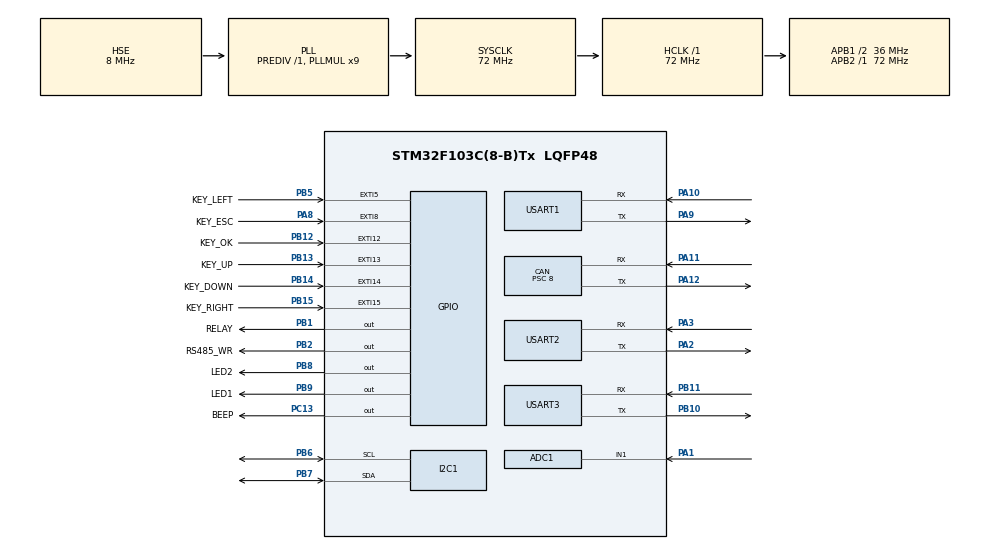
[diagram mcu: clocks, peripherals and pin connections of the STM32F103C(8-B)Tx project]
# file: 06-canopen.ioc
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ADC1.Channel-0\#ChannelRegularConversion=ADC_CHANNEL_1
ADC1.NbrOfConversionFlag=1
ADC1.Rank-0\#ChannelRegularConversion=1
ADC1.SamplingTime-0\#ChannelRegularConversion=ADC_SAMPLETIME_239CYCLES_5
ADC1.master=1
CAN.BS1=CAN_BS1_6TQ
CAN.BS2=CAN_BS2_2TQ
CAN.CalculateBaudRate=500000
CAN.CalculateTimeBit=2000
CAN.CalculateTimeQuantum=222.22222222222223
CAN.Prescaler=8
Dma.Request0=USART3_RX
Dma.Request1=USART1_RX
Dma.USART1_RX.1.Direction=DMA_PERIPH_TO_MEMORY
Dma.USART1_RX.1.Instance=DMA1_Channel5
Dma.USART1_RX.1.MemDataAlignment=DMA_MDATAALIGN_BYTE
Dma.USART1_RX.1.MemInc=DMA_MINC_ENABLE
Dma.USART1_RX.1.Mode=DMA_CIRCULAR
Dma.USART1_RX.1.PeriphDataAlignment=DMA_PDATAALIGN_BYTE
Dma.USART1_RX.1.PeriphInc=DMA_PINC_DISABLE
Dma.USART1_RX.1.Priority=DMA_PRIORITY_HIGH
Dma.USART3_RX.0.Direction=DMA_PERIPH_TO_MEMORY
Dma.USART3_RX.0.Instance=DMA1_Channel3
Dma.USART3_RX.0.MemDataAlignment=DMA_MDATAALIGN_BYTE
Dma.USART3_RX.0.MemInc=DMA_MINC_ENABLE
Dma.USART3_RX.0.Mode=DMA_CIRCULAR
Dma.USART3_RX.0.PeriphDataAlignment=DMA_PDATAALIGN_BYTE
Dma.USART3_RX.0.PeriphInc=DMA_PINC_DISABLE
Dma.USART3_RX.0.Priority=DMA_PRIORITY_HIGH
Mcu.Family=STM32F1
Mcu.Name=STM32F103C(8-B)Tx
Mcu.Package=LQFP48
NVIC.DMA1_Channel3_IRQn=true\:0\:0\:false\:false\:true\:false\:true\:true
NVIC.DMA1_Channel5_IRQn=true\:0\:0\:false\:false\:true\:false\:true\:true
NVIC.EXTI15_10_IRQn=true\:0\:0\:true\:false\:true\:true\:true\:true
NVIC.EXTI9_5_IRQn=true\:0\:0\:true\:false\:true\:true\:true\:true
NVIC.PriorityGroup=NVIC_PRIORITYGROUP_4
NVIC.TIM1_UP_IRQn=true\:0\:0\:false\:false\:true\:true\:true\:true
NVIC.TIM2_IRQn=true\:0\:0\:false\:false\:true\:true\:true\:true
NVIC.TIM3_IRQn=true\:2\:0\:true\:false\:false\:true\:true\:true
NVIC.TIM4_IRQn=true\:0\:0\:false\:false\:true\:true\:true\:true
NVIC.USART1_IRQn=true\:0\:0\:false\:false\:true\:true\:true\:true
NVIC.USART2_IRQn=true\:0\:0\:false\:false\:false\:true\:true\:true
NVIC.USART3_IRQn=true\:0\:0\:false\:false\:true\:true\:true\:true
NVIC.USB_LP_CAN1_RX0_IRQn=true\:0\:0\:false\:false\:true\:true\:true\:true
PA1.Signal=ADCx_IN1
PA10.Mode=Asynchronous
PA10.Signal=USART1_RX
PA11.Mode=CAN_Activate
PA11.Signal=CAN_RX
PA12.Mode=CAN_Activate
PA12.Signal=CAN_TX
PA13.Mode=Serial_Wire
PA13.Signal=SYS_JTMS-SWDIO
PA14.Mode=Serial_Wire
PA14.Signal=SYS_JTCK-SWCLK
PA2.Mode=Asynchronous
PA2.Signal=USART2_TX
PA3.Mode=Asynchronous
PA3.Signal=USART2_RX
PA8.GPIO_Label=KEY_ESC
PA8.GPIO_ModeDefaultEXTI=GPIO_MODE_IT_FALLING
PA8.GPIO_PuPd=GPIO_PULLUP
PA8.Signal=GPXTI8
PA9.Mode=Asynchronous
PA9.Signal=USART1_TX
PB1.GPIO_Label=RELAY
PB1.Signal=GPIO_Output
PB10.Mode=Asynchronous
PB10.Signal=USART3_TX
PB11.Mode=Asynchronous
PB11.Signal=USART3_RX
PB12.GPIO_Label=KEY_OK
PB12.GPIO_ModeDefaultEXTI=GPIO_MODE_IT_FALLING
PB12.GPIO_PuPd=GPIO_PULLUP
PB12.Signal=GPXTI12
PB13.GPIO_Label=KEY_UP
PB13.GPIO_ModeDefaultEXTI=GPIO_MODE_IT_FALLING
PB13.GPIO_PuPd=GPIO_PULLUP
PB13.Signal=GPXTI13
PB14.GPIO_Label=KEY_DOWN
PB14.GPIO_ModeDefaultEXTI=GPIO_MODE_IT_FALLING
PB14.GPIO_PuPd=GPIO_PULLUP
PB14.Signal=GPXTI14
PB15.GPIO_Label=KEY_RIGHT
PB15.GPIO_ModeDefaultEXTI=GPIO_MODE_IT_FALLING
PB15.GPIO_PuPd=GPIO_PULLUP
PB15.Signal=GPXTI15
PB2.GPIO_Label=RS485_WR
PB2.GPIO_Speed=GPIO_SPEED_FREQ_HIGH
PB2.Signal=GPIO_Output
PB5.GPIO_Label=KEY_LEFT
PB5.GPIO_ModeDefaultEXTI=GPIO_MODE_IT_FALLING
PB5.GPIO_PuPd=GPIO_PULLUP
PB5.Signal=GPXTI5
PB6.Mode=I2C
PB6.Signal=I2C1_SCL
PB7.Mode=I2C
PB7.Signal=I2C1_SDA
PB8.GPIO_Label=LED2
PB8.PinState=GPIO_PIN_SET
PB8.Signal=GPIO_Output
PB9.GPIO_Label=LED1
PB9.PinState=GPIO_PIN_SET
PB9.Signal=GPIO_Output
PC13-TAMPER-RTC.GPIO_Label=BEEP
PC13-TAMPER-RTC.Signal=GPIO_Output
PC14-OSC32_IN.Mode=LSE-External-Oscillator
PC14-OSC32_IN.Signal=RCC_OSC32_IN
PC15-OSC32_OUT.Mode=LSE-External-Oscillator
PC15-OSC32_OUT.Signal=RCC_OSC32_OUT
PD0-OSC_IN.Mode=HSE-External-Oscillator
PD0-OSC_IN.Signal=RCC_OSC_IN
PD1-OSC_OUT.Mode=HSE-External-Oscillator
PD1-OSC_OUT.Signal=RCC_OSC_OUT
ProjectManager.HeapSize=0x200
ProjectManager.StackSize=0x400
ProjectManager.TargetToolchain=MDK-ARM V5.32
RCC.ADCPresc=RCC_ADCPCLK2_DIV6
RCC.AHBFreq_Value=72000000
RCC.APB1CLKDivider=RCC_HCLK_DIV2
RCC.APB1Freq_Value=36000000
RCC.APB1TimFreq_Value=72000000
RCC.APB2Freq_Value=72000000
RCC.APB2TimFreq_Value=72000000
RCC.HCLKFreq_Value=72000000
RCC.PLLMUL=RCC_PLL_MUL9
RCC.PLLSourceVirtual=RCC_PLLSOURCE_HSE
RCC.RTCClockSelection=RCC_RTCCLKSOURCE_LSE
RCC.SYSCLKFreq_VALUE=72000000
RCC.SYSCLKSource=RCC_SYSCLKSOURCE_PLLCLK
RCC.USBFreq_Value=72000000
RTC.Date=4
RTC.Hours=10
RTC.Minutes=20
RTC.Month=RTC_MONTH_SEPTEMBER
RTC.Seconds=30
RTC.WeekDay=RTC_WEEKDAY_THURSDAY
RTC.Year=25
SH.ADCx_IN1.0=ADC1_IN1,IN1
TIM1.AutoReloadPreload=TIM_AUTORELOAD_PRELOAD_ENABLE
TIM1.Period=5000
TIM1.Prescaler=7200-1
TIM2.AutoReloadPreload=TIM_AUTORELOAD_PRELOAD_ENABLE
TIM2.Period=0x2000
TIM2.Prescaler=72-1
TIM3.AutoReloadPreload=TIM_AUTORELOAD_PRELOAD_DISABLE
TIM3.Period=100
TIM3.Prescaler=3599
TIM4.AutoReloadPreload=TIM_AUTORELOAD_PRELOAD_DISABLE
TIM4.Period=100
TIM4.Prescaler=7200-1
USART1.VirtualMode=VM_ASYNC
USART2.VirtualMode=VM_ASYNC
USART3.VirtualMode=VM_ASYNC
VP_RTC_No_RTC_Output.Mode=RTC_OUT_NO
VP_RTC_VS_RTC_Activate.Mode=RTC_Enabled
VP_RTC_VS_RTC_Calendar.Mode=RTC_Calendar
VP_TIM1_VS_ClockSourceINT.Mode=Internal
VP_TIM2_VS_ClockSourceINT.Mode=Internal
VP_TIM3_VS_ClockSourceINT.Mode=Internal
VP_TIM4_VS_ClockSourceINT.Mode=Internal
board=custom

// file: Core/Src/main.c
/* USER CODE BEGIN Header */
/**
  ******************************************************************************
  * @file           : main.c
  * @brief          : Main program body
  ******************************************************************************
  * @attention
  *
  * Copyright (c) 2025 STMicroelectronics.
  * All rights reserved.
  *
  * This software is licensed under terms that can be found in the LICENSE file
  * in the root directory of this software component.
  * If no LICENSE file comes with this software, it is provided AS-IS.
  *
  ******************************************************************************
  */
/* USER CODE END Header */
#include "main.h"
#include "adc.h"
#include "can.h"
#include "dma.h"
#include "i2c.h"
#include "rtc.h"
#include "tim.h"
#include "usart.h"
#include "gpio.h"

/* USER CODE BEGIN Includes */
#include <stdio.h>
#include "oled.h"
#include "aht20.h"
#include "ina226.h"
#include "mb.h"
#include "modbus.h"
#include "wifi4g.h"
#include "mqtt.h"
#include "mqtt.h"
#include "canfestival.h"
#include "testslave.h"
#include "f1can.h"
/* USER CODE END Includes */

void SystemClock_Config(void);

int main(void)
{

  /* MCU Configuration--------------------------------------------------------*/

  /* Reset of all peripherals, Initializes the Flash interface and the Systick. */
  HAL_Init();

  /* Configure the system clock */
  SystemClock_Config();

  /* Initialize all configured peripherals */
  MX_GPIO_Init();
  MX_DMA_Init();
  MX_USART1_UART_Init();
  MX_USART2_UART_Init();
  MX_USART3_UART_Init();
  MX_I2C1_Init();
  MX_RTC_Init();
  MX_ADC1_Init();
  MX_TIM1_Init();
  MX_TIM2_Init();
  MX_TIM3_Init();
  MX_TIM4_Init();
  MX_CAN_Init();
  /* USER CODE BEGIN 2 */
	MX_CAN_Init();
	HAL_Delay(400); // 这里延时是给esp8266 打印日志使用的
	// 经过测试 , 400ms时, 日志输出就没有了, 为了安全,我们设置400ms 以上的延时
	// 等待esp8266 输出初始化日志, 要不然一旦开启uart3就会触发dma中断,早期的esp8266初始化的数据波特率不是
	// 115200, 会造成uart3的错误,要在uart3中做错误恢复

	printf("Uart1 init is ok\n");
	printf("CANopen Test\n");
	//EEPROM_Test();
	OLED_Init();
	OLED_CLS(); // 清除屏幕显示
	OLED_ShowStr(0,0, (unsigned char*)"CANopen Control", 2);
	AHT20_Init();
	INA226_Init();

	__HAL_UART_ENABLE_IT(&huart1, UART_IT_IDLE); //使能串UART1 IDLE(空闲)中断
	HAL_UART_Receive_DMA(&huart1, RX1_Buf, DMA_BUF_SIZE); //设置DMA传输，将uart1的数据搬运到RX1_Buf中

	__HAL_UART_ENABLE_IT(&huart3, UART_IT_IDLE); //使能串UART3 IDLE(空闲)中断
	HAL_UART_Receive_DMA(&huart3, RX3_Buf, DMA_BUF_SIZE); //设置DMA传输，将uart3的数据搬运到RX3_Buf中

	HAL_TIM_Base_Start_IT(&htim1); // 使能定时器1中断
	HAL_TIM_Base_Start_IT(&htim2); // 使能定时器2中断
	Modbus_Init();
	CanFestival_Can_Init();	//初始化can过滤器
	setNodeId(&TestSlave_Data, SlaveAddress);
	setState(&TestSlave_Data, Initialisation);
	setState(&TestSlave_Data, Operational);

	//MQTT_Connect_Server();
  /* USER CODE END 2 */

  /* Infinite loop */
  /* USER CODE BEGIN WHILE */
  while (1)
  {
		eMBPoll();// 轮训查询
		Modbus_Parse();

		if(MQTT_UPLoad_Flag) // 每隔5秒执行1次
		{
				MQTT_UPLoad_Flag = 0 ;
				MQTT_SendData();
		}
    /* USER CODE END WHILE */

  }
}

void SystemClock_Config(void)
{
  RCC_OscInitTypeDef RCC_OscInitStruct = {0};
  RCC_ClkInitTypeDef RCC_ClkInitStruct = {0};
  RCC_PeriphCLKInitTypeDef PeriphClkInit = {0};

  /** Initializes the RCC Oscillators according to the specified parameters
  * in the RCC_OscInitTypeDef structure.
  */
  RCC_OscInitStruct.OscillatorType = RCC_OSCILLATORTYPE_HSE|RCC_OSCILLATORTYPE_LSE;
  RCC_OscInitStruct.HSEState = RCC_HSE_ON;
  RCC_OscInitStruct.HSEPredivValue = RCC_HSE_PREDIV_DIV1;
  RCC_OscInitStruct.LSEState = RCC_LSE_ON;
  RCC_OscInitStruct.HSIState = RCC_HSI_ON;
  RCC_OscInitStruct.PLL.PLLState = RCC_PLL_ON;
  RCC_OscInitStruct.PLL.PLLSource = RCC_PLLSOURCE_HSE;
  RCC_OscInitStruct.PLL.PLLMUL = RCC_PLL_MUL9;
  if (HAL_RCC_OscConfig(&RCC_OscInitStruct) != HAL_OK)
  {
    Error_Handler();
  }

  /** Initializes the CPU, AHB and APB buses clocks
  */
  RCC_ClkInitStruct.ClockType = RCC_CLOCKTYPE_HCLK|RCC_CLOCKTYPE_SYSCLK
                              |RCC_CLOCKTYPE_PCLK1|RCC_CLOCKTYPE_PCLK2;
  RCC_ClkInitStruct.SYSCLKSource = RCC_SYSCLKSOURCE_PLLCLK;
  RCC_ClkInitStruct.AHBCLKDivider = RCC_SYSCLK_DIV1;
  RCC_ClkInitStruct.APB1CLKDivider = RCC_HCLK_DIV2;
  RCC_ClkInitStruct.APB2CLKDivider = RCC_HCLK_DIV1;

  if (HAL_RCC_ClockConfig(&RCC_ClkInitStruct, FLASH_LATENCY_2) != HAL_OK)
  {
    Error_Handler();
  }
  PeriphClkInit.PeriphClockSelection = RCC_PERIPHCLK_RTC|RCC_PERIPHCLK_ADC;
  PeriphClkInit.RTCClockSelection = RCC_RTCCLKSOURCE_LSE;
  PeriphClkInit.AdcClockSelection = RCC_ADCPCLK2_DIV6;
  if (HAL_RCCEx_PeriphCLKConfig(&PeriphClkInit) != HAL_OK)
  {
    Error_Handler();
  }
}

void Error_Handler(void)
{
  __disable_irq();
  while (1)
  {
  }
}
